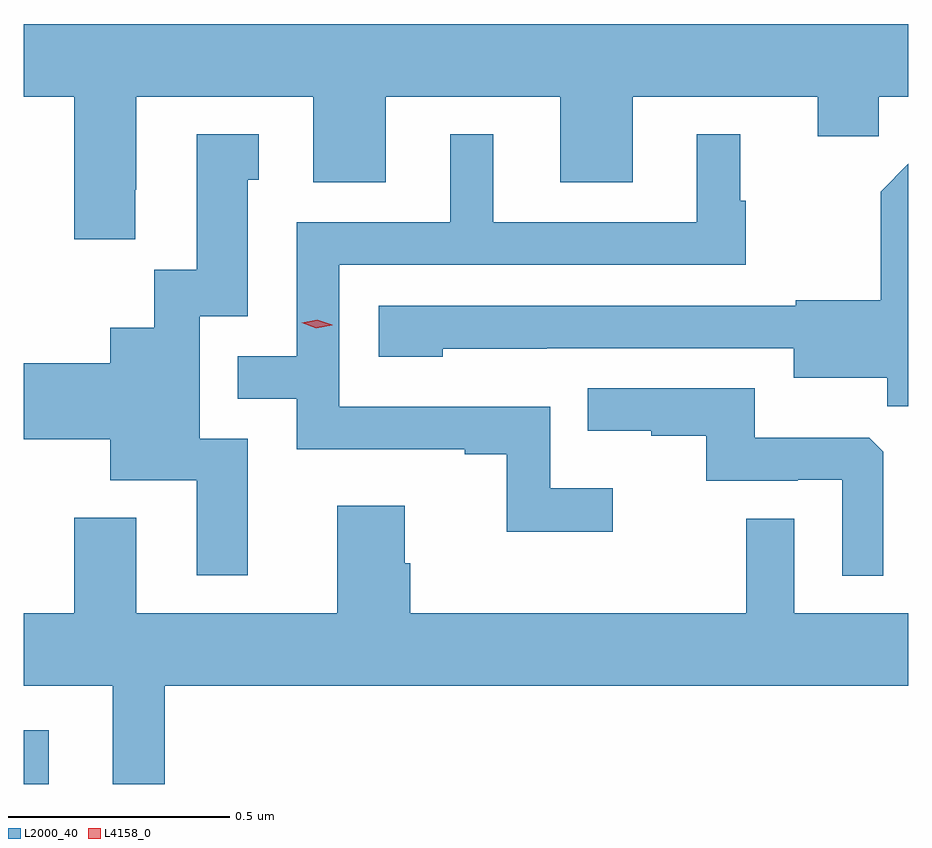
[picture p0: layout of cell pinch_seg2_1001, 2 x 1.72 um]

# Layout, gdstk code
import gdstk
lib = gdstk.Library(unit=1e-6, precision=1e-09)
def R(c, l, rs):  # rectangles x0, y0, x1, y1
    for r in rs: c.add(gdstk.rectangle(r[:2], r[2:], *l))
def P(c, l, *ps):  # polygons
    for p in ps: c.add(gdstk.Polygon(p, *l))
L2000_40 = (2000, 40)
L4158_0 = (4158, 0)

pinch_seg2_1001 = lib.new_cell('pinch_seg2_1001')
R(pinch_seg2_1001, L2000_40, [(210.436,656.738,210.493,656.86)])
P(pinch_seg2_1001, L2000_40, [(210.688,658.081),(210.691,658.081),(210.691,658.292),(211.091,658.292),(211.091,658.098),(211.255,658.098),(211.255,658.292),(211.649,658.292),(211.649,658.098),(211.813,658.098),(211.813,658.292),(212.231,658.292),(212.231,658.202),(212.369,658.202),(212.369,658.292),(212.436,658.292),(212.436,658.456),(210.436,658.456),(210.436,658.292),(210.551,658.292),(210.551,657.969),(210.688,657.969)],
  [(210.943,657.519),(210.834,657.519),(210.834,657.795),(210.943,657.795),(210.943,658.104),(210.967,658.104),(210.967,658.207),(210.827,658.207),(210.827,657.9),(210.731,657.9),(210.731,657.769),(210.632,657.769),(210.632,657.689),(210.436,657.689),(210.436,657.517),(210.632,657.517),(210.632,657.425),(210.827,657.425),(210.827,657.21),(210.943,657.21)],
  [(211.768,657.406),(211.626,657.406),(211.626,657.591),(211.149,657.591),(211.149,657.912),(212.068,657.912),(212.068,658.056),(212.056,658.056),(212.056,658.207),(211.958,658.207),(211.958,658.008),(211.498,658.008),(211.498,658.207),(211.4,658.207),(211.4,658.008),(211.053,658.008),(211.053,657.705),(210.92,657.705),(210.92,657.609),(211.053,657.609),(211.053,657.495),(211.433,657.495),(211.433,657.483),(211.528,657.483),(211.528,657.308),(211.768,657.308)],
  [(212.436,658.14),(212.373,658.077),(212.373,657.832),(212.181,657.832),(212.181,657.819),(211.239,657.819),(211.239,657.704),(211.383,657.704),(211.383,657.722),(211.619,657.722),(211.619,657.723),(212.177,657.723),(212.177,657.656),(212.388,657.656),(212.388,657.592),(212.436,657.592)],
  [(212.379,657.489),(212.347,657.521),(212.089,657.521),(212.089,657.633),(211.711,657.633),(211.711,657.536),(211.855,657.536),(211.855,657.525),(211.979,657.525),(211.979,657.423),(212.186,657.423),(212.186,657.426),(212.286,657.426),(212.286,657.209),(212.379,657.209)],
  [(210.755,656.96),(212.436,656.96),(212.436,657.124),(212.178,657.124),(212.178,657.338),(212.07,657.338),(212.07,657.124),(211.31,657.124),(211.31,657.237),(211.297,657.237),(211.297,657.367),(211.145,657.367),(211.145,657.124),(210.691,657.124),(210.691,657.34),(210.551,657.34),(210.551,657.124),(210.436,657.124),(210.436,656.96),(210.638,656.96),(210.638,656.738),(210.755,656.738)])
P(pinch_seg2_1001, L4158_0, [(211.098,657.768),(211.065,657.781),(211.064,657.781),(211.065,657.781),(211.1,657.788),(211.134,657.776),(211.134,657.776),(211.134,657.775)])

lib.write_gds('pinch_seg2_1001.gds')
